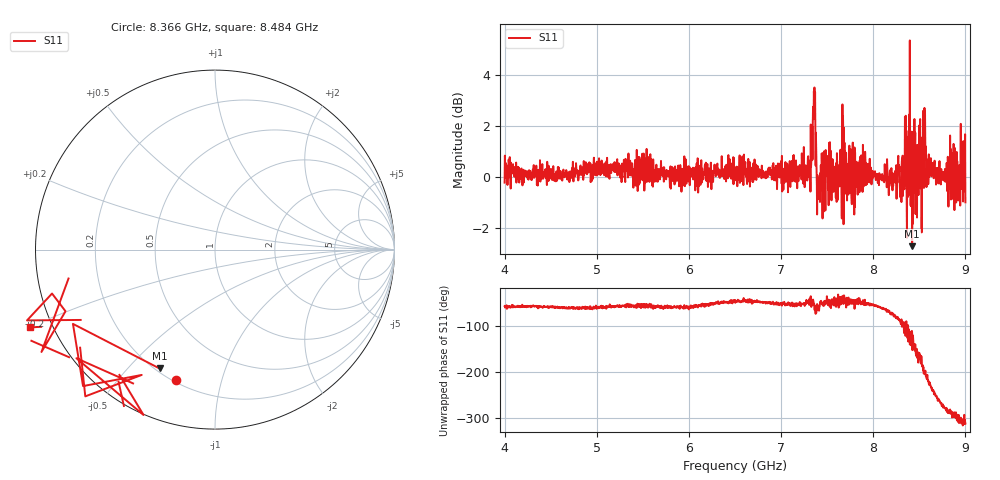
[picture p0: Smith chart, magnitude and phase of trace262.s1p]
! Created with skrf 1.8.0 (http://scikit-rf.org).
# Hz S RI R 50.0
!freq ReS11 ImS11
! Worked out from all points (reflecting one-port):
!   1601 points, 4 GHz to 9 GHz, reference 50 ohm
!   lowest |S11| = -2.7 dB at 8.422 GHz (marker M1), VSWR 6.43, Z = 10.8 - j30.8 ohm
!   phase of S11 starts at -56 deg and turns -256 deg over the sweep
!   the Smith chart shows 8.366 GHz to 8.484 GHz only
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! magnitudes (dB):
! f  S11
! 4 GHz  -0.2
! 4.625 GHz  -0.2
! 5.25 GHz  0.1
! 5.875 GHz  0.2
! 6.5 GHz  0.0
! 7.125 GHz  0.2
! 7.294 GHz  0.8
! 7.356 GHz  3.4
! 7.372 GHz  1.9
! 7.397 GHz  -0.2
! 7.412 GHz  0.0
! 7.509 GHz  -0.5
! 7.609 GHz  -0.2
! 7.688 GHz  1.3
! 7.703 GHz  0.9
! 7.75 GHz  -0.4
! 7.891 GHz  0.3
! 8.316 GHz  -0.1
! 8.331 GHz  0.7
! 8.347 GHz  1.6
! 8.375 GHz  0.1
! 8.422 GHz  -2.7
! 8.425 GHz  -1.0
! 8.553 GHz  -0.4
! 8.603 GHz  0.9
! 8.797 GHz  0.5
! 8.972 GHz  0.4
! 9 GHz  -1.0
